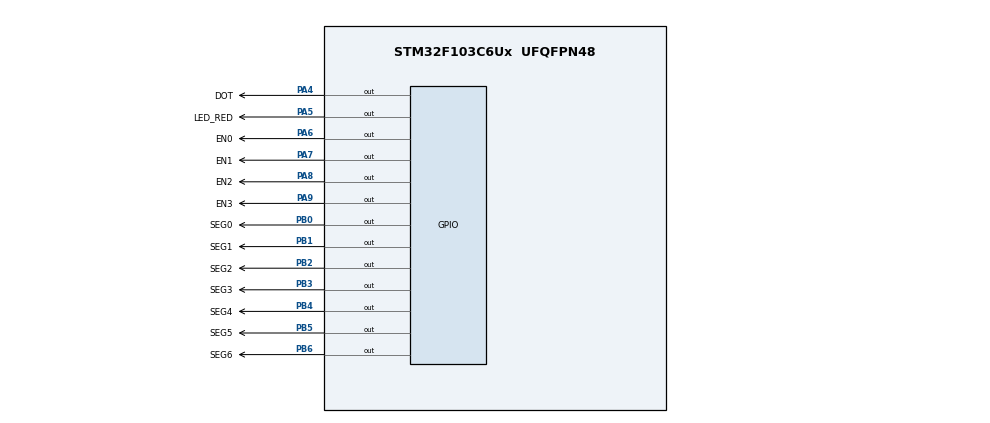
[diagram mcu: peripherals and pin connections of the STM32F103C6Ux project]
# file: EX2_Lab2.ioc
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Mcu.Family=STM32F1
Mcu.Name=STM32F103C6Ux
Mcu.Package=UFQFPN48
NVIC.PriorityGroup=NVIC_PRIORITYGROUP_4
NVIC.TIM2_IRQn=true\:0\:0\:false\:false\:true\:true\:true
PA4.GPIO_Label=DOT
PA4.Signal=GPIO_Output
PA5.GPIO_Label=LED_RED
PA5.Signal=GPIO_Output
PA6.GPIO_Label=EN0
PA6.Signal=GPIO_Output
PA7.GPIO_Label=EN1
PA7.Signal=GPIO_Output
PA8.GPIO_Label=EN2
PA8.Signal=GPIO_Output
PA9.GPIO_Label=EN3
PA9.Signal=GPIO_Output
PB0.GPIO_Label=SEG0
PB0.Signal=GPIO_Output
PB1.GPIO_Label=SEG1
PB1.Signal=GPIO_Output
PB2.GPIO_Label=SEG2
PB2.Signal=GPIO_Output
PB3.GPIO_Label=SEG3
PB3.Signal=GPIO_Output
PB4.GPIO_Label=SEG4
PB4.Signal=GPIO_Output
PB5.GPIO_Label=SEG5
PB5.Signal=GPIO_Output
PB6.GPIO_Label=SEG6
PB6.Signal=GPIO_Output
ProjectManager.HeapSize=0x200
ProjectManager.StackSize=0x400
ProjectManager.TargetToolchain=STM32CubeIDE
RCC.APB1Freq_Value=8000000
RCC.APB2Freq_Value=8000000
TIM2.Period=9
TIM2.Prescaler=7999
VP_SYS_VS_ND.Mode=No_Debug
VP_TIM2_VS_ClockSourceINT.Mode=Internal
board=custom

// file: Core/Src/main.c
/* USER CODE BEGIN Header */
/**
  ******************************************************************************
  * @file           : main.c
  * @brief          : Main program body
  ******************************************************************************
  * @attention
  *
  * <h2><center>&copy; Copyright (c) 2025 STMicroelectronics.
  * All rights reserved.</center></h2>
  *
  * This software component is licensed by ST under BSD 3-Clause license,
  * the "License"; You may not use this file except in compliance with the
  * License. You may obtain a copy of the License at:
  *                        opensource.org/licenses/BSD-3-Clause
  *
  ******************************************************************************
  */
/* USER CODE END Header */
#include "main.h"

TIM_HandleTypeDef htim2;

void SystemClock_Config(void);
static void MX_GPIO_Init(void);
static void MX_TIM2_Init(void);

int main(void)
{

  /* MCU Configuration--------------------------------------------------------*/

  /* Reset of all peripherals, Initializes the Flash interface and the Systick. */
  HAL_Init();

  /* Configure the system clock */
  SystemClock_Config();

  /* Initialize all configured peripherals */
  MX_GPIO_Init();
  MX_TIM2_Init();
  /* USER CODE BEGIN 2 */
  HAL_TIM_Base_Start_IT (& htim2 );
  /* USER CODE END 2 */

  /* Infinite loop */
  while (1)
  {

  }
}

void SystemClock_Config(void)
{
  RCC_OscInitTypeDef RCC_OscInitStruct = {0};
  RCC_ClkInitTypeDef RCC_ClkInitStruct = {0};

  /** Initializes the RCC Oscillators according to the specified parameters
  * in the RCC_OscInitTypeDef structure.
  */
  RCC_OscInitStruct.OscillatorType = RCC_OSCILLATORTYPE_HSI;
  RCC_OscInitStruct.HSIState = RCC_HSI_ON;
  RCC_OscInitStruct.HSICalibrationValue = RCC_HSICALIBRATION_DEFAULT;
  RCC_OscInitStruct.PLL.PLLState = RCC_PLL_NONE;
  if (HAL_RCC_OscConfig(&RCC_OscInitStruct) != HAL_OK)
  {
    Error_Handler();
  }
  /** Initializes the CPU, AHB and APB buses clocks
  */
  RCC_ClkInitStruct.ClockType = RCC_CLOCKTYPE_HCLK|RCC_CLOCKTYPE_SYSCLK
                              |RCC_CLOCKTYPE_PCLK1|RCC_CLOCKTYPE_PCLK2;
  RCC_ClkInitStruct.SYSCLKSource = RCC_SYSCLKSOURCE_HSI;
  RCC_ClkInitStruct.AHBCLKDivider = RCC_SYSCLK_DIV1;
  RCC_ClkInitStruct.APB1CLKDivider = RCC_HCLK_DIV1;
  RCC_ClkInitStruct.APB2CLKDivider = RCC_HCLK_DIV1;

  if (HAL_RCC_ClockConfig(&RCC_ClkInitStruct, FLASH_LATENCY_0) != HAL_OK)
  {
    Error_Handler();
  }
}

static void MX_TIM2_Init(void)
{

  TIM_ClockConfigTypeDef sClockSourceConfig = {0};
  TIM_MasterConfigTypeDef sMasterConfig = {0};

  htim2.Instance = TIM2;
  htim2.Init.Prescaler = 7999;
  htim2.Init.CounterMode = TIM_COUNTERMODE_UP;
  htim2.Init.Period = 9;
  htim2.Init.ClockDivision = TIM_CLOCKDIVISION_DIV1;
  htim2.Init.AutoReloadPreload = TIM_AUTORELOAD_PRELOAD_DISABLE;
  if (HAL_TIM_Base_Init(&htim2) != HAL_OK)
  {
    Error_Handler();
  }
  sClockSourceConfig.ClockSource = TIM_CLOCKSOURCE_INTERNAL;
  if (HAL_TIM_ConfigClockSource(&htim2, &sClockSourceConfig) != HAL_OK)
  {
    Error_Handler();
  }
  sMasterConfig.MasterOutputTrigger = TIM_TRGO_RESET;
  sMasterConfig.MasterSlaveMode = TIM_MASTERSLAVEMODE_DISABLE;
  if (HAL_TIMEx_MasterConfigSynchronization(&htim2, &sMasterConfig) != HAL_OK)
  {
    Error_Handler();
  }

}

static void MX_GPIO_Init(void)
{
  GPIO_InitTypeDef GPIO_InitStruct = {0};

  /* GPIO Ports Clock Enable */
  __HAL_RCC_GPIOA_CLK_ENABLE();
  __HAL_RCC_GPIOB_CLK_ENABLE();

  /*Configure GPIO pin Output Level */
  HAL_GPIO_WritePin(GPIOA, DOT_Pin|LED_RED_Pin|EN0_Pin|EN1_Pin
                          |EN2_Pin|EN3_Pin, GPIO_PIN_RESET);

  /*Configure GPIO pin Output Level */
  HAL_GPIO_WritePin(GPIOB, SEG0_Pin|SEG1_Pin|SEG2_Pin|SEG3_Pin
                          |SEG4_Pin|SEG5_Pin|SEG6_Pin, GPIO_PIN_RESET);

  /*Configure GPIO pins : DOT_Pin LED_RED_Pin EN0_Pin EN1_Pin
                           EN2_Pin EN3_Pin */
  GPIO_InitStruct.Pin = DOT_Pin|LED_RED_Pin|EN0_Pin|EN1_Pin
                          |EN2_Pin|EN3_Pin;
  GPIO_InitStruct.Mode = GPIO_MODE_OUTPUT_PP;
  GPIO_InitStruct.Pull = GPIO_NOPULL;
  GPIO_InitStruct.Speed = GPIO_SPEED_FREQ_LOW;
  HAL_GPIO_Init(GPIOA, &GPIO_InitStruct);

  /*Configure GPIO pins : SEG0_Pin SEG1_Pin SEG2_Pin SEG3_Pin
                           SEG4_Pin SEG5_Pin SEG6_Pin */
  GPIO_InitStruct.Pin = SEG0_Pin|SEG1_Pin|SEG2_Pin|SEG3_Pin
                          |SEG4_Pin|SEG5_Pin|SEG6_Pin;
  GPIO_InitStruct.Mode = GPIO_MODE_OUTPUT_PP;
  GPIO_InitStruct.Pull = GPIO_NOPULL;
  GPIO_InitStruct.Speed = GPIO_SPEED_FREQ_LOW;
  HAL_GPIO_Init(GPIOB, &GPIO_InitStruct);

}

/* USER CODE BEGIN 4 */
void clearLed() {
	HAL_GPIO_WritePin(GPIOA, EN0_Pin | EN1_Pin | EN2_Pin | EN3_Pin, SET);
	HAL_GPIO_WritePin(GPIOB, SEG0_Pin | SEG1_Pin | SEG2_Pin | SEG3_Pin | SEG4_Pin | SEG5_Pin | SEG6_Pin, SET);
}

int pinControll7SEG[4] = {EN0_Pin, EN1_Pin, EN2_Pin, EN3_Pin};

void enablePin(int index) {
	HAL_GPIO_WritePin(GPIOA, pinControll7SEG[index], RESET);
}

int status = 0;
int buffer[4] = {1,2,3,0};
void display7SEG(int num) {
    static const uint8_t seven_seg_code[10] = {
        0b1000000, //0
        0b1111001, //1
        0b0100100, //2
        0b0110000, //3
        0b0011001, //4
        0b0010010, //5
        0b0000010, //6
        0b1111000, //7
        0b0000000, //8
        0b0010000  //9
    };

    uint8_t code = seven_seg_code[num];
    HAL_GPIO_WritePin(GPIOB, GPIO_PIN_6, (code & 0b1000000) ? GPIO_PIN_SET : GPIO_PIN_RESET); // a
    HAL_GPIO_WritePin(GPIOB, GPIO_PIN_5, (code & 0b0100000) ? GPIO_PIN_SET : GPIO_PIN_RESET); // b
    HAL_GPIO_WritePin(GPIOB, GPIO_PIN_4, (code & 0b0010000) ? GPIO_PIN_SET : GPIO_PIN_RESET); // c
    HAL_GPIO_WritePin(GPIOB, GPIO_PIN_3, (code & 0b0001000) ? GPIO_PIN_SET : GPIO_PIN_RESET); // d
    HAL_GPIO_WritePin(GPIOB, GPIO_PIN_2, (code & 0b0000100) ? GPIO_PIN_SET : GPIO_PIN_RESET); // e
    HAL_GPIO_WritePin(GPIOB, GPIO_PIN_1, (code & 0b0000010) ? GPIO_PIN_SET : GPIO_PIN_RESET); // f
    HAL_GPIO_WritePin(GPIOB, GPIO_PIN_0, (code & 0b0000001) ? GPIO_PIN_SET : GPIO_PIN_RESET); // g
}

int counter = 100;
void HAL_TIM_PeriodElapsedCallback(TIM_HandleTypeDef *htim)
{
	if(htim->Instance == TIM2) {
		counter--;
		if(counter == 50 || counter == 0) {
			if(counter == 0) {
				counter = 100;
				HAL_GPIO_TogglePin(LED_RED_GPIO_Port, LED_RED_Pin);
				HAL_GPIO_TogglePin(DOT_GPIO_Port, DOT_Pin);
			}

			clearLed();
			enablePin(status);
			display7SEG(buffer[status]);
			status++;
			if(status >= 4) status = 0;
		}
	}
}
/* USER CODE END 4 */

void Error_Handler(void)
{
  __disable_irq();
  while (1)
  {
  }
}

/************************ (C) COPYRIGHT STMicroelectronics *****END OF FILE****/
